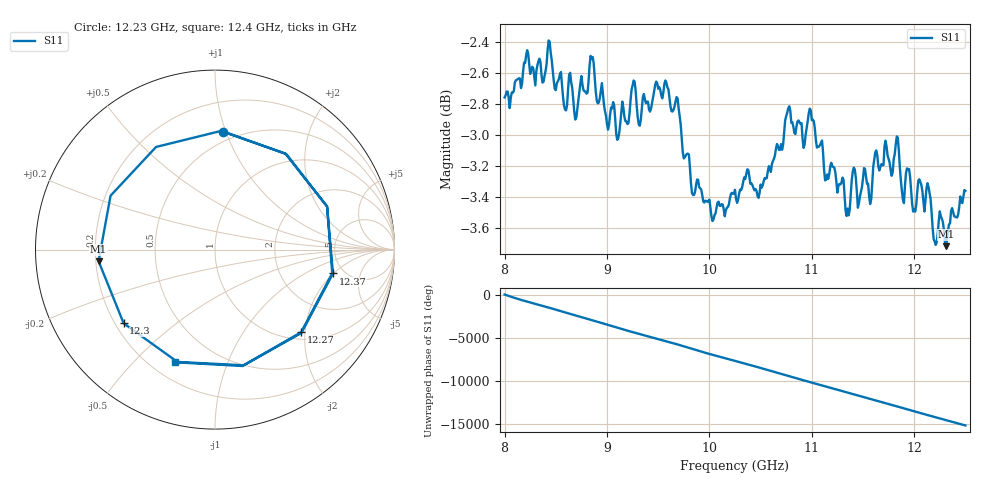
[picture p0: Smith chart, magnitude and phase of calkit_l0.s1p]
#  HZ  S  RI  R  50.00
! Rohde & Schwarz Vector Network Analyzer
! Rohde-Schwarz,ZNA43-4Port,1332450044101932,2.92
! Created: UTC 6/2/2026, 7:39:56 AM
! freq[Hz]  re:S11  im:S11
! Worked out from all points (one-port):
!   451 points, 8 GHz to 12.5 GHz, reference 50 ohm
!   lowest |S11| = -3.7 dB at 12.31 GHz (marker M1), VSWR 4.74, Z = 10.6 - j2.37 ohm
!   |S11| at or under -10 dB: nowhere
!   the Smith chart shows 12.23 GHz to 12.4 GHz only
!   S11 on the Smith chart (normalised r, x): 12.23 GHz: 0.42, +0.98; 12.27 GHz: 1.15, -1.91; 12.3 GHz: 0.23, -0.34; 12.37 GHz: 4.07, -1.97; 12.4 GHz: 0.29, -0.66
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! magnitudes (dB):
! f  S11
! 8 GHz  -2.8
! 8.44 GHz  -2.4
! 8.57 GHz  -2.7
! 8.7 GHz  -2.9
! 8.85 GHz  -2.5
! 9 GHz  -2.9
! 9.13 GHz  -2.9
! 9.26 GHz  -2.6
! 9.32 GHz  -2.9
! 9.49 GHz  -2.7
! 9.69 GHz  -2.8
! 9.84 GHz  -3.4
! 10.25 GHz  -3.4
! 10.82 GHz  -2.9
! 10.99 GHz  -2.8
! 11.14 GHz  -3.3
! 11.38 GHz  -3.4
! 11.83 GHz  -3.0
! 11.89 GHz  -3.4
! 11.94 GHz  -3.2
! 12 GHz  -3.5
! 12.23 GHz  -3.6
! 12.27 GHz  -3.5
! 12.3 GHz  -3.7
! 12.31 GHz  -3.7
! 12.37 GHz  -3.5
! 12.4 GHz  -3.5
! 12.5 GHz  -3.4
